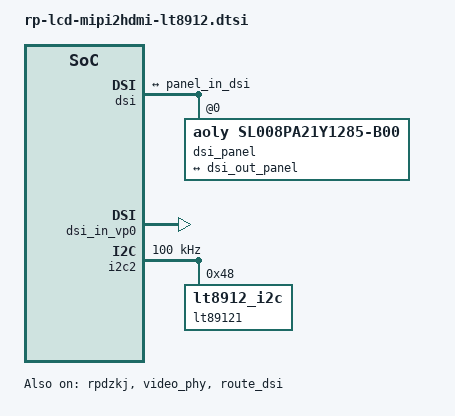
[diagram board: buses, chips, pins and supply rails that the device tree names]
#define RP_SINGLE_LCD

&rpdzkj {
        compatible = "rp_config";
        user_version = "rpdzkj";
        system_rotate = "0";
        csi_camera_rotate = "0"; //all csi camera rotation //0 90 180 270 //no effect
        csi_camera_facing = "0"; //0:auto  1:all front   2:all back //no effect
        usb_camera_rotate = "0"; //all usb camera rotation //0 90 180 270 
        usb_camera_facing = "0"; //0:auto  1:all front   2:all back
        lcd_density = "160";
        language = "zh-CN";   //zh-CN //en-US
        time_zone = "Asia/Shanghai"; //Asia/Shanghai = +8   //Europe/London  = +1       //Africa/Casablanca     = +0;
        not_navigation_bar = "false";
        not_status_bar = "false";
        default_launcher = "true";
        has_root = "true";
        usb_not_permission = "true";
        gps_use = "false";
        gps_serial_port = "/dev/ttyS4";
        primary_device = "DSI";
        extend_device = "HDMI-A";
        extend_rotate = "0";//0 0//1 90 //2 180 //3 270
        rotation_efull = "false";
        extend_rotate_2 = "0";//0 0//1 90 //2 180 //3 270
        rotation_efull_2 = "true";
        extend_rotate_3 = "0";//0 0//1 90 //2 180 //3 270
        rotation_efull_3 = "true";
        home_apk = "null";
        status = "okay";
};



&dsi {
    status = "okay";
    //rockchip,lane-rate = <480>;
    
    dsi_panel: panel@0 {
        status = "okay";
        compatible = "aoly,sl008pa21y1285-b00","simple-panel-dsi";
        reg = <0>;

        init-delay-ms = <120>;
        reset-delay-ms = <120>;
        enable-delay-ms = <120>;
        prepare-delay-ms = <120>;
        unprepare-delay-ms = <60>;
        disable-delay-ms = <60>;
//        dsi,flags = <(MIPI_DSI_MODE_VIDEO | MIPI_DSI_MODE_VIDEO_BURST |
//                        MIPI_DSI_MODE_LPM | MIPI_DSI_MODE_EOT_PACKET)>;

//        dsi,flags = <(MIPI_DSI_MODE_VIDEO | MIPI_DSI_MODE_VIDEO_BURST |
//            MIPI_DSI_MODE_LPM | MIPI_DSI_MODE_EOT_PACKET)>;
                        
        dsi,flags = <(MIPI_DSI_MODE_VIDEO | MIPI_DSI_MODE_VIDEO_BURST |
              MIPI_DSI_MODE_VIDEO_HBP | MIPI_DSI_MODE_LPM |
              MIPI_DSI_MODE_EOT_PACKET)>;
              
        dsi,format = <MIPI_DSI_FMT_RGB888>;
        dsi,lanes  = <4>;

        /**
         * power-supply = <>;
         * reset-gpios = <>;
         *
         * lcd reset pin and power supply
         * please refer to ***-lcd-gpio.dtsi
         * that included in main dts.
         */

        panel-init-sequence = [
            05 78 01 11
            05 05 01 29
        ];

        panel-exit-sequence = [
            05 00 01 28
            05 78 01 10
        ];

        disp_timings0: display-timings {
            native-mode = <&dsi_timing0>;
            dsi_timing0: timing0 {
                clock-frequency = <148500000>;//140000000
                hactive = <1920>;
                vactive = <1080>;
                hback-porch = <148>;//60
                hfront-porch = <88>;
                vback-porch = <36>;//23
                vfront-porch = <4>;//12
                hsync-len = <44>;
                vsync-len = <5>;
                hsync-active = <0>;
                vsync-active = <0>;
                de-active = <0>;
                pixelclk-active = <0>;
            };
        };

        ports {
            #address-cells = <1>;
            #size-cells = <0>;

            port@0 {
                reg = <0>;
                panel_in_dsi: endpoint {
                    remote-endpoint = <&dsi_out_panel>;
                };
            };
        };
    };

    ports {
        #address-cells = <1>;
        #size-cells = <0>;

        port@1 {
            reg = <1>;
            dsi_out_panel: endpoint {
                remote-endpoint = <&panel_in_dsi>;
            };
        };
    };

};


&dsi_in_vp0 {
    status = "okay";
};

&video_phy {
 status = "okay";
};

&route_dsi {
    status = "okay";
    connect = <&vp0_out_dsi>;
};


&i2c2 {
        status = "okay";
        clock-frequency = <100000>;

    /delete-node/ gt1x@14;
        lt89121: lt89121@48 {
                status = "okay";
                compatible = "lt8912_i2c";
                reg = <0x48>;
            //  reset-gpios = <&gpio3 23 GPIO_ACTIVE_HIGH>;
        };


};


